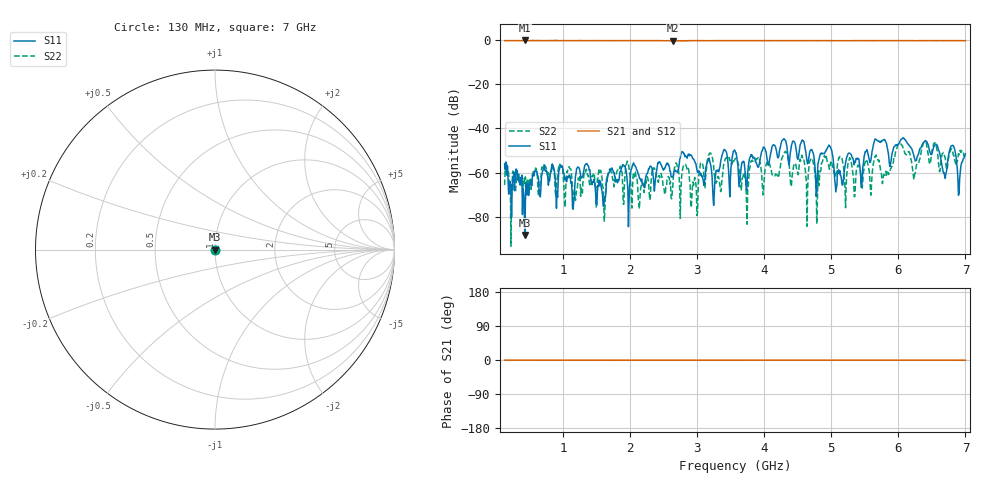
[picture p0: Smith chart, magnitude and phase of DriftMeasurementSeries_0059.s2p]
# Hz S RI R 50.000000
! Metas.Vna.Tools, 2.8.8664.20301
! Metas.Vna.Data, 2.8.8664.20285
! Created: UTC 2024.02.11 10:08:29
! FREQ  re:S1,1  im:S1,1  re:S2,1  im:S2,1  re:S1,2  im:S1,2  re:S2,2  im:S2,2
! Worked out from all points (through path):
!   801 points, 130 MHz to 7 GHz, reference 50 ohm
!   highest |S21| = -0.01 dB at 439.1 MHz (marker M1); lowest = -0.2 dB at 2.638 GHz (marker M2)
!   lowest |S11| = -88.3 dB at 430.6 MHz (marker M3), VSWR 1.00, Z = 50 + j0.003 ohm
!   |S11| at or under -10 dB: start of sweep to end of sweep
!   |S22| runs from -93.5 to -46.3 dB; largest |S21 - S12| = 0.019
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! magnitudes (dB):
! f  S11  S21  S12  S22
! 130 MHz  -56.1  -0.1  0.0  -65.7
! 430.6 MHz  -88.3  0.0  0.0  -64.8
! 439.1 MHz  -75.0  0.0  0.0  -62.0
! 1.281 GHz  -62.3  -0.1  0.0  -67.6
! 1.607 GHz  -75.4  -0.1  0.0  -73.4
! 2.423 GHz  -55.6  -0.1  0.0  -64.5
! 2.638 GHz  -62.0  -0.2  0.0  -66.3
! 2.792 GHz  -50.8  -0.1  0.0  -57.3
! 3.256 GHz  -69.0  -0.1  0.0  -60.4
! 3.565 GHz  -50.1  -0.1  0.0  -53.9
! 3.737 GHz  -68.2  -0.1  0.0  -74.3
! 3.891 GHz  -56.3  -0.1  0.0  -53.9
! 4.716 GHz  -49.9  -0.1  0.0  -54.0
! 4.793 GHz  -61.2  -0.1  0.0  -74.0
! 4.982 GHz  -48.2  -0.1  0.0  -56.9
! 5.085 GHz  -65.5  -0.1  0.0  -59.0
! 5.858 GHz  -52.8  -0.1  0.0  -60.8
! 6.021 GHz  -46.0  -0.1  0.0  -46.8
! 6.236 GHz  -53.0  -0.1  0.0  -63.2
! 6.39 GHz  -45.9  -0.1  0.0  -46.3
! 6.691 GHz  -61.6  -0.1  0.0  -52.8
! 7 GHz  -51.5  -0.1  0.0  -53.5
